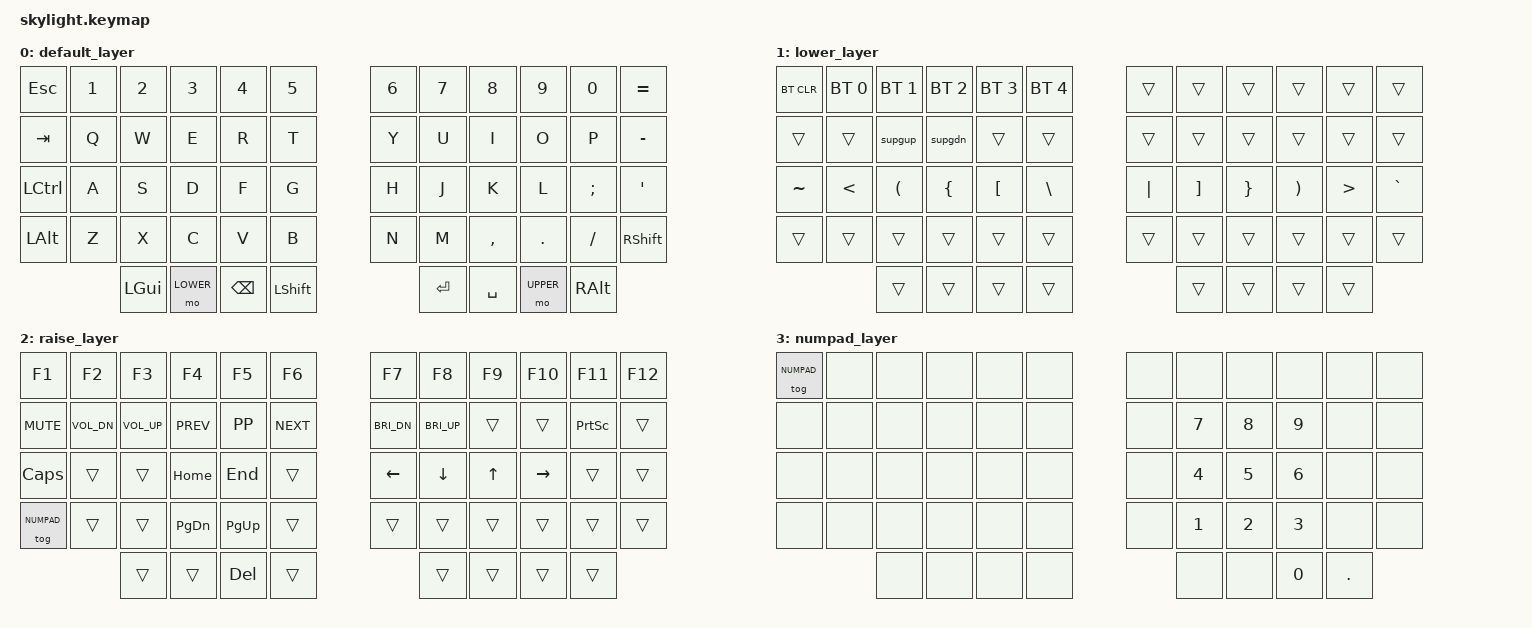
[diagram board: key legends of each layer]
#include <behaviors.dtsi>
#include <dt-bindings/zmk/keys.h>
#include <dt-bindings/zmk/bt.h>

#define DEFAULT 0
#define LOWER 1
#define UPPER 2
#define NUMPAD 3

/ {
    macros {
        supgup: supgup {
            compatible = "zmk,behavior-macro";
            #binding-cells = <0>;
            bindings
                = <&macro_press &kp LGUI>
                , <&kp PG_UP>
                , <&macro_release &kp LGUI>;
        };
        // SUPER + PG DOWN macro
        supgdn: supgdn {
            compatible = "zmk,behavior-macro";
            #binding-cells = <0>;
            bindings
                = <&macro_press &kp LGUI>
                , <&kp PG_DN>
                , <&macro_release &kp LGUI>;
        };
    };

    keymap {
        compatible = "zmk,keymap";

        default_layer {
// ------------------------------------------------------------------------------------------------------------
// |  ESC  |  1  |  2  |  3   |  4   |  5   |              |  6   |  7    |  8    |  9   |   0   |   =   |
// |  TAB  |  Q  |  W  |  E   |  R   |  T   |              |  Y   |  U    |  I    |  O   |   P   |   -   |
// |  CTRL |  A  |  S  |  D   |  F   |  G   |              |  H   |  J    |  K    |  L   |   ;   |   '   |
// |  ALT  |  Z  |  X  |  C   |  V   |  B   |              |  N   |  M    |  ,    |  .   |   /   | SHIFT |
//               | GUI |LOWER | BSPC | SHIFT|              | ENTR | SPACE | RAISE | ALT  |
            bindings = <
&kp ESC   &kp N1 &kp N2 &kp N3 &kp N4   &kp N5              &kp N6 &kp N7 &kp N8    &kp N9  &kp N0   &kp EQUAL
&kp TAB   &kp Q  &kp W  &kp E  &kp R    &kp T               &kp Y  &kp U  &kp I     &kp O   &kp P    &kp MINUS
&kp LCTRL &kp A  &kp S  &kp D  &kp F    &kp G               &kp H  &kp J  &kp K     &kp L   &kp SEMI &kp SQT
&kp LALT  &kp Z  &kp X  &kp C  &kp V    &kp B               &kp N  &kp M  &kp COMMA &kp DOT &kp FSLH &kp RSHFT
               &kp LGUI &mo LOWER &kp BSPC &kp LSHIFT       &kp RET  &kp SPACE &mo UPPER  &kp RALT
            >;
        };

        lower_layer {
// ------------------------------------------------------------------------------------------------------------
// | BTCLR | BT1 |  BT2  |  BT3  |  BT4 |  BT5 |                                  |      |       |       |      |      |      |
// |       |     | supgup| supgdn|      |      |                                  |      |       |       |      |      |      |
// |   ~   |  <  |   (   |   {   |  [   |   \  |                                  |  |   |   ]   |  }    |  )   |   >  |   `  |
// |       |     |       |       |      |      |                                  |      |       |       |      |      |      |
//               |       |       |      |      |                                  |      |       |       |      |
            bindings = <
&bt BT_CLR &bt BT_SEL 0 &bt BT_SEL 1 &bt BT_SEL 2 &bt BT_SEL 3 &bt BT_SEL 4     &trans    &trans    &trans    &trans    &trans    &trans
&trans     &trans       &supgup      &supgdn      &trans       &trans           &trans    &trans    &trans    &trans    &trans    &trans
&kp TILDE  &kp LT       &kp LPAR     &kp LBRC     &kp LBKT     &kp BSLH         &kp PIPE  &kp RBKT  &kp RBRC  &kp RPAR  &kp GT    &kp GRAVE
&trans     &trans       &trans       &trans       &trans       &trans           &trans    &trans    &trans    &trans    &trans    &trans
                        &trans       &trans       &trans       &trans           &trans    &trans    &trans    &trans
            >;
        };

        raise_layer {
// ------------------------------------------------------------------------------------------------------------
// |  F1   |  F1   |  F3   |  F4  |  F5  |  F6  |                          |  F7   |  F8   |  F9   |  F10 |  F11  |  F12  |
// |  MUTE | VOLDN | VOLUP | PREV | PLAY | NEXT |                          | BRIDN | BRIUP |       |      | PSCRN |       |
// |  CAPS |       |       | HOME |  END |      |                          |   <-  |  v    |   ^   |  ->  |       |       |
// | NUMPAD|       |       | PGDN | PGUP |      |                          |       |       |       |      |       |       |
//                 |       |      |  DEL |      |                          |       |       |       |      | 
            bindings = <
&kp F1      &kp F2       &kp F3        &kp F4      &kp F5     &kp F6          &kp F7       &kp F8       &kp F9    &kp F10   &kp F11   &kp F12
&kp K_MUTE  &kp K_VOL_DN &kp K_VOL_UP  &kp K_PREV  &kp K_PP   &kp K_NEXT      &kp C_BRI_DN &kp C_BRI_UP &trans    &trans    &kp PSCRN &trans
&kp CAPS    &trans       &trans        &kp HOME   &kp END     &trans          &kp LEFT     &kp DOWN     &kp UP    &kp RIGHT &trans    &trans
&tog NUMPAD &trans       &trans        &kp PG_DN  &kp PG_UP   &trans          &trans       &trans       &trans    &trans    &trans    &trans
                         &trans        &trans      &kp DEL    &trans          &trans       &trans       &trans    &trans
            >;
        };

        numpad_layer {
            bindings = <
&tog NUMPAD &none   &none   &none   &none   &none          &none    &none   &none   &none   &none    &none
&none       &none   &none   &none   &none   &none          &none    &kp N7  &kp N8  &kp N9   &none    &none
&none       &none   &none   &none   &none   &none          &none    &kp N4  &kp N5  &kp N6   &none    &none
&none       &none   &none   &none   &none   &none          &none    &kp N1  &kp N2  &kp N3   &none    &none
                    &none   &none   &none   &none          &none    &none   &kp N0  &kp DOT
            >;
        };
    };
 };
